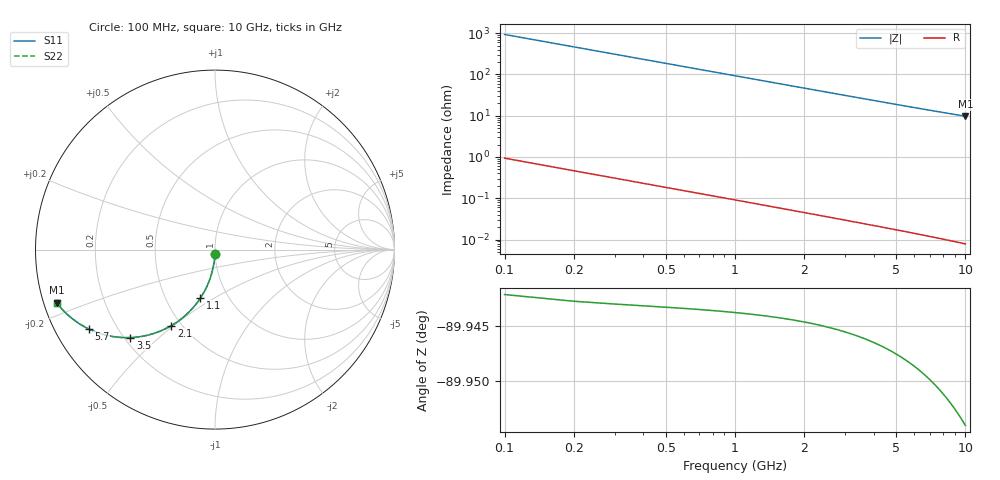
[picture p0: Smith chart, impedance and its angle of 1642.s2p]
# Hz S RI R 50.00
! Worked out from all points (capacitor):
!   100 points, 100 MHz to 10 GHz, reference 50 ohm
!   read as one part in shunt: C = 1.72 pF near 100 MHz
!   lowest |Z| = 9.73 ohm at 10 GHz (marker M1)
!   S11 on the Smith chart (normalised r, x): 100 MHz: 1.00, -0.05; 1.1 GHz: 0.74, -0.43; 2.1 GHz: 0.44, -0.49; 3.5 GHz: 0.22, -0.41; 5.7 GHz: 0.10, -0.28; 10 GHz: 0.04, -0.16
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1e8  -0.000686 -0.0267  0.9992 -0.0272  0.9992 -0.0272  -0.000686 -0.0267
2e8  -0.00288 -0.0532  0.997 -0.0542  0.997 -0.0542  -0.00288 -0.0532
3e8  -0.0065 -0.0796  0.9934 -0.081  0.9934 -0.081  -0.0065 -0.0796
4e8  -0.0115 -0.1055  0.9883 -0.1075  0.9883 -0.1075  -0.0115 -0.1055
5e8  -0.0179 -0.1311  0.982 -0.1335  0.982 -0.1335  -0.0179 -0.1311
6e8  -0.0255 -0.1561  0.9743 -0.1589  0.9743 -0.1589  -0.0255 -0.1561
7e8  -0.0344 -0.1804  0.9654 -0.1837  0.9654 -0.1837  -0.0344 -0.1804
9e8  -0.0557 -0.2268  0.9442 -0.2311  0.9442 -0.2311  -0.0557 -0.2268
1.1e9  -0.0809 -0.2697  0.9189 -0.275  0.9189 -0.275  -0.0809 -0.2697
1.4e9  -0.1248 -0.3267  0.875 -0.3334  0.875 -0.3334  -0.1248 -0.3267
1.8e9  -0.1907 -0.3881  0.8091 -0.3968  0.8091 -0.3968  -0.1907 -0.3881
2.1e9  -0.2429 -0.4233  0.7569 -0.4334  0.7569 -0.4334  -0.2429 -0.4233
2.7e9  -0.3467 -0.4689  0.6531 -0.482  0.6531 -0.482  -0.3467 -0.4689
3.4e9  -0.4572 -0.4894  0.5425 -0.5059  0.5425 -0.5059  -0.4572 -0.4894
3.5e9  -0.4717 -0.4902  0.528 -0.5072  0.528 -0.5072  -0.4717 -0.4902
4.3e9  -0.5745 -0.4834  0.4252 -0.5044  0.4252 -0.5044  -0.5745 -0.4834
5.1e9  -0.6556 -0.4621  0.344 -0.4871  0.344 -0.4871  -0.6556 -0.4621
5.7e9  -0.7044 -0.4417  0.2951 -0.4697  0.2951 -0.4697  -0.7044 -0.4417
6.7e9  -0.7677 -0.405  0.2316 -0.4381  0.2316 -0.4381  -0.7677 -0.405
7.5e9  -0.8061 -0.3759  0.1931 -0.4132  0.1931 -0.4132  -0.8061 -0.3759
8.4e9  -0.8397 -0.3449  0.1593 -0.3869  0.1593 -0.3869  -0.8397 -0.3449
1e10  -0.8822 -0.2957  0.1164 -0.3463  0.1164 -0.3463  -0.8822 -0.2957
